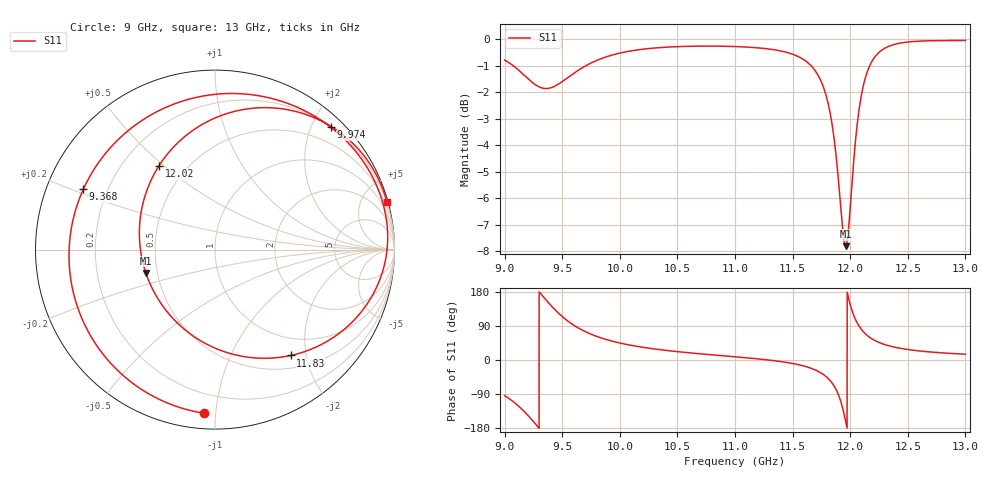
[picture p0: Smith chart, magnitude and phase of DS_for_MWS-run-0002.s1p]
! TOUCHSTONE file generated by CST DESIGN STUDIO
! Date and time: Tue Feb  4 17:09:29 2025
! Project name: C:\Work\MatlabApps\UnitCellOptimizationMatlab\CST\unitcell.cst
! Tree item: Tasks\Sweep1\SPara1\S-Parameters
! Header version: 2024
! Port assignment regex: !\s*Touchstone port\s*([0-9]+)\s*=\s*(CST MWS port|CST DES external port|CST DES block port)\s*(.+)\s* \(\"(.*)\"\)(\s*mode\s*([0-9]+))?.*
! Touchstone port assignment:
! Touchstone port 1 = CST DES external port 1 ("")
# GHz S MA R 50
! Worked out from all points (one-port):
!   4001 points, 9 GHz to 13 GHz, reference 50 ohm
!   lowest |S11| = -7.8 dB at 11.96 GHz (marker M1), VSWR 2.37, Z = 21.6 - j6.76 ohm
!   |S11| at or under -10 dB: nowhere
!   S11 on the Smith chart (normalised r, x): 9 GHz: 0.08, -0.93; 9.368 GHz: 0.11, +0.22; 9.974 GHz: 0.20, +2.30; 11.83 GHz: 0.69, -1.73; 12.02 GHz: 0.35, +0.48; 13 GHz: 0.15, +7.44
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9  0.9131 -94.0
9.117  0.8759 -120.7
9.228  0.8329 -154.8
9.297  0.8133 -179.2
9.368  0.8071 155.4
9.5  0.8318 114.7
9.598  0.8616 92.2
9.724  0.8958 71.5
9.974  0.9386 46.7
10  0.9415 44.8
10.5  0.9682 22.1
11  0.9686 8.5
11.5  0.9368 -9.2
11.703  0.8675 -27.1
11.77  0.8092 -38.9
11.826  0.7253 -54.4
11.899  0.5383 -92.6
11.929  0.4509 -120.9
11.96  0.4068 -161.2
12  0.4804 146.2
12.023  0.5617 123.8
12.057  0.6791 99.9
12.095  0.7797 81.6
12.15  0.8705 64.2
12.21  0.9235 52.0
12.327  0.968 38.2
12.5  0.9878 27.7
13  0.9946 15.3
